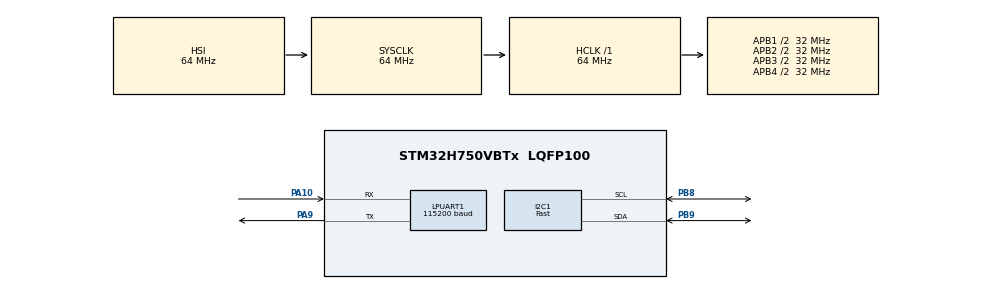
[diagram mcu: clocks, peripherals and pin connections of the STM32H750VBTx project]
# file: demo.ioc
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I2C1.I2C_Fall_Time=0
I2C1.I2C_Rise_Time=0
I2C1.I2C_Speed_Mode=I2C_Fast
I2C1.Speed=400
I2C1.Timing=0x00300F38
LPUART1.BaudRate=115200
Mcu.Family=STM32H7
Mcu.Name=STM32H750VBTx
Mcu.Package=LQFP100
NVIC.PriorityGroup=NVIC_PRIORITYGROUP_4
PA10.Mode=Asynchronous
PA10.Signal=LPUART1_RX
PA9.Mode=Asynchronous
PA9.Signal=LPUART1_TX
PB8.Mode=I2C
PB8.Signal=I2C1_SCL
PB9.Mode=I2C
PB9.Signal=I2C1_SDA
PC14-OSC32_IN\ (OSC32_IN).Mode=LSE-External-Oscillator
PC14-OSC32_IN\ (OSC32_IN).Signal=RCC_OSC32_IN
PC15-OSC32_OUT\ (OSC32_OUT).Mode=LSE-External-Oscillator
PC15-OSC32_OUT\ (OSC32_OUT).Signal=RCC_OSC32_OUT
PH0-OSC_IN\ (PH0).Mode=HSE-External-Oscillator
PH0-OSC_IN\ (PH0).Signal=RCC_OSC_IN
PH1-OSC_OUT\ (PH1).Mode=HSE-External-Oscillator
PH1-OSC_OUT\ (PH1).Signal=RCC_OSC_OUT
ProjectManager.HeapSize=0x200
ProjectManager.StackSize=0x400
ProjectManager.TargetToolchain=MDK-ARM V5.32
RCC.ADCFreq_Value=129000000
RCC.APB1Freq_Value=32000000
RCC.APB2Freq_Value=32000000
RCC.APB3Freq_Value=32000000
RCC.APB4Freq_Value=32000000
RCC.CortexFreq_Value=64000000
RCC.D1PPRE=RCC_APB3_DIV2
RCC.D2PPRE1=RCC_APB1_DIV2
RCC.D2PPRE2=RCC_APB2_DIV2
RCC.D3PPRE=RCC_APB4_DIV2
RCC.HCLKFreq_Value=64000000
RCC.SYSCLKFreq_VALUE=64000000
RCC.USBFreq_Value=129000000
board=custom

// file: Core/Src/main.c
/* USER CODE BEGIN Header */
/**
  ******************************************************************************
  * @file           : main.c
  * @brief          : Main program body
  ******************************************************************************
  * @attention
  *
  * Copyright (c) 2023 STMicroelectronics.
  * All rights reserved.
  *
  * This software is licensed under terms that can be found in the LICENSE file
  * in the root directory of this software component.
  * If no LICENSE file comes with this software, it is provided AS-IS.
  *
  ******************************************************************************
  */
/* USER CODE END Header */
#include "main.h"
#include "i2c.h"
#include "usart.h"
#include "gpio.h"

/* USER CODE BEGIN Includes */
#include <stdio.h>
#include <string.h>
#include "24C02Dev.h"
/* USER CODE END Includes */

/* USER CODE BEGIN PD */
uint8_t I2C_Buffer_Write[256];
uint8_t I2C_Buffer_Read[256];
uint16_t i;
/* USER CODE END PD */

void SystemClock_Config(void);
static void MX_NVIC_Init(void);

int main(void)
{

  /* MCU Configuration--------------------------------------------------------*/

  /* Reset of all peripherals, Initializes the Flash interface and the Systick. */
  HAL_Init();

  /* Configure the system clock */
  SystemClock_Config();

  /* Initialize all configured peripherals */
  MX_GPIO_Init();
  MX_LPUART1_UART_Init();
  MX_I2C1_Init();

  /* Initialize interrupts */
  MX_NVIC_Init();

  /* Infinite loop */
  while (1)
  {

    /* USER CODE BEGIN 3 */
		printf("\r\n \r\n*********STM32CubeMX I2C AT24C02 Example*********\r\n");
	  for(i=0; i<256; i++)
	  {
      I2C_Buffer_Write[255 - i]=i;    /* WriteBuffer Initialization */
	  }

    if(AT24C02_write_Array(0, I2C_Buffer_Write, sizeof(I2C_Buffer_Write)) == HAL_OK){
        printf("Write OK\r\n");
		}
		else{
			  printf("Write Failed\r\n");
	  }

	  /* write data to AT24C02 */
    // for(i=0; i<256; i=i++){
    //   AT24C02_write(i, I2C_Buffer_Write[i]);
    // }
	  // for(i=0; i<256; i=i+8)
	  // {
		//   if (HAL_I2C_Mem_Write(&hi2c1, ADDR_AT24C02_Write, i, I2C_MEMADD_SIZE_8BIT,&(I2C_Buffer_Write[i]),8, 1000) == HAL_OK)
		//   {
		// 	  printf("\r\n Byte %02d to Byte %02d Write OK",i,i+7);
		//     HAL_Delay(5);//������
		//   }
		//   else
		// 	  printf("\r\n Byte %02d to Byte %02d Write Failed",i,i+7);
	  // }

	  /* read data from EEPROM */
	  printf("\r\n Reading from AT24C02:\r\n");
	  HAL_I2C_Mem_Read(&hi2c1, ADDR_AT24C02_Read, 0, I2C_MEMADD_SIZE_8BIT,I2C_Buffer_Read,256, 1000);

	  for(i=0; i<256; i++)
	  {
		  printf("0x%02X  ",I2C_Buffer_Read[i]);
	  }
	  HAL_Delay(500);
//

	  if(memcmp(I2C_Buffer_Read,I2C_Buffer_Write,256) == 0 ) /* check data */
			printf("\r\n AT24C02 Read Test OK DATA\r\n");
	  else
	      printf("\r\n AT24C02 Read Test Failed\r\n");

    while (1);
  }
  /* USER CODE END 3 */
}

void SystemClock_Config(void)
{
  RCC_OscInitTypeDef RCC_OscInitStruct = {0};
  RCC_ClkInitTypeDef RCC_ClkInitStruct = {0};

  /** Supply configuration update enable
  */
  HAL_PWREx_ConfigSupply(PWR_LDO_SUPPLY);

  /** Configure the main internal regulator output voltage
  */
  __HAL_PWR_VOLTAGESCALING_CONFIG(PWR_REGULATOR_VOLTAGE_SCALE3);

  while(!__HAL_PWR_GET_FLAG(PWR_FLAG_VOSRDY)) {}

  /** Initializes the RCC Oscillators according to the specified parameters
  * in the RCC_OscInitTypeDef structure.
  */
  RCC_OscInitStruct.OscillatorType = RCC_OSCILLATORTYPE_HSI;
  RCC_OscInitStruct.HSIState = RCC_HSI_DIV1;
  RCC_OscInitStruct.HSICalibrationValue = RCC_HSICALIBRATION_DEFAULT;
  RCC_OscInitStruct.PLL.PLLState = RCC_PLL_NONE;
  if (HAL_RCC_OscConfig(&RCC_OscInitStruct) != HAL_OK)
  {
    Error_Handler();
  }

  /** Initializes the CPU, AHB and APB buses clocks
  */
  RCC_ClkInitStruct.ClockType = RCC_CLOCKTYPE_HCLK|RCC_CLOCKTYPE_SYSCLK
                              |RCC_CLOCKTYPE_PCLK1|RCC_CLOCKTYPE_PCLK2
                              |RCC_CLOCKTYPE_D3PCLK1|RCC_CLOCKTYPE_D1PCLK1;
  RCC_ClkInitStruct.SYSCLKSource = RCC_SYSCLKSOURCE_HSI;
  RCC_ClkInitStruct.SYSCLKDivider = RCC_SYSCLK_DIV1;
  RCC_ClkInitStruct.AHBCLKDivider = RCC_HCLK_DIV1;
  RCC_ClkInitStruct.APB3CLKDivider = RCC_APB3_DIV2;
  RCC_ClkInitStruct.APB1CLKDivider = RCC_APB1_DIV2;
  RCC_ClkInitStruct.APB2CLKDivider = RCC_APB2_DIV2;
  RCC_ClkInitStruct.APB4CLKDivider = RCC_APB4_DIV2;

  if (HAL_RCC_ClockConfig(&RCC_ClkInitStruct, FLASH_LATENCY_1) != HAL_OK)
  {
    Error_Handler();
  }
}

/**
  * @brief NVIC Configuration.
  * @retval None
  */
static void MX_NVIC_Init(void)
{
  /* I2C1_EV_IRQn interrupt configuration */
  HAL_NVIC_SetPriority(I2C1_EV_IRQn, 1, 0);
  HAL_NVIC_EnableIRQ(I2C1_EV_IRQn);
  /* I2C1_ER_IRQn interrupt configuration */
  HAL_NVIC_SetPriority(I2C1_ER_IRQn, 2, 0);
  HAL_NVIC_EnableIRQ(I2C1_ER_IRQn);
}

void Error_Handler(void)
{
  __disable_irq();
  while (1)
  {
  }
}
